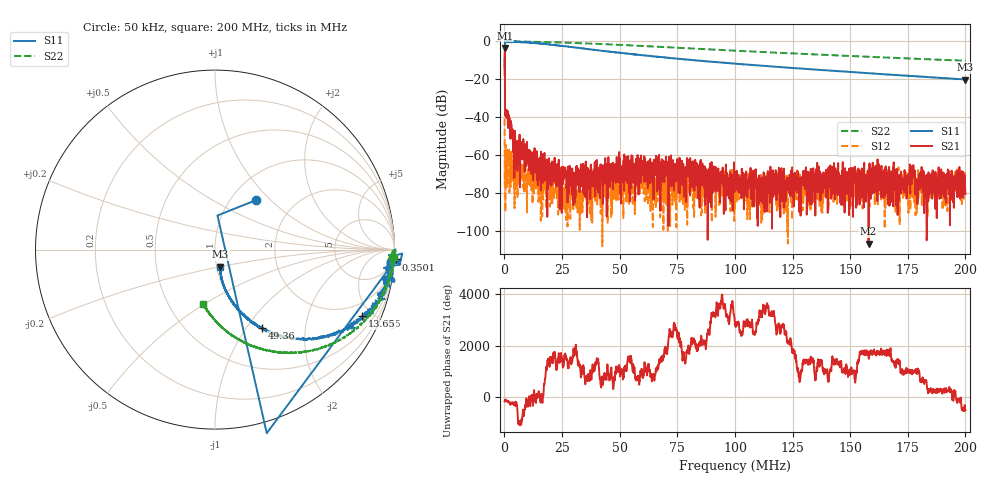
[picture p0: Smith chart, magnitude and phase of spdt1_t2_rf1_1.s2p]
! 26-Feb-26 10:48:21 AM
! E:\VNA_MEASUREMENTS\SPDT1\SPDT1_T2_RF1_1.S2P
! CHANNEL.1
! TR.MEASUREMENT
! CORRECTED.DATA
# GHZ S RI R 50.0
! FREQ.GHZ  S11RE  S11IM  S21RE  S21IM  S12RE  S12IM  S22RE  S22IM
!; PortSelection: Port_12
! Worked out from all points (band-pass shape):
!   2000 points, 50 kHz to 200 MHz, reference 50 ohm
!   highest |S21| = -3.38 dB at 150 kHz (marker M1); lowest = -106.6 dB at 158 MHz (marker M2)
!   |S21| within 3 dB of the highest: 128.8 kHz to 158.5 kHz (29.63 kHz wide, 20.6 % of centre)
!   lowest |S11| = -20.1 dB at 199.9 MHz (marker M3), VSWR 1.22, Z = 52.2 - j9.97 ohm
!   |S11| at or under -10 dB: 69.16 kHz to 179.5 kHz (110.3 kHz wide, 88.7 % of centre); 82.82912 MHz to 82.90645 MHz (77.33 kHz wide, 0.0933 % of centre); 83.14 MHz to end of sweep
!   |S22| runs from -10.2 to 0.1 dB; largest |S21 - S12| = 0.68
!   S11 on the Smith chart (normalised r, x): 50 kHz: 1.30, +0.82; 350.1 kHz: -6, -36; 13.65 MHz: 1.14, -4.35; 49.36 MHz: 1.01, -1.18; 200 MHz: 1.04, -0.20
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5e-05  0.2271 0.2748  -0.1287 -0.0322  0.00923 0.000237  0.9904 -0.0393
0.000150025  0.0137 0.1901  -0.6313 -0.2471  -3.8e-05 -0.00016  1.001 0.00248
0.000350075  1.008 -0.0547  0.000139 -0.0113  -5.3e-06 3.24e-05  0.9896 -0.0158
0.001150275  0.9996 -0.0556  -0.0075 -0.00699  -0.000968 1.6e-06  0.9867 -0.0242
0.005051251  0.9978 -0.1802  -0.000234 0.000393  0.000229 0.000358  0.982 -0.0776
0.0136534  0.8176 -0.3705  -0.000243 0.000241  0.000361 0.000173  0.9493 -0.217
0.024056  0.6062 -0.4907  0.000223 0.000199  9.83e-05 1.8e-06  0.8717 -0.3549
0.03345835  0.4393 -0.4935  0.000126 -0.0001  -3e-07 -3.97e-05  0.7792 -0.4444
0.04936233  0.2609 -0.4348  0.000415 5.15e-05  5.88e-05 -0.000222  0.6146 -0.5401
0.06676668  0.1565 -0.3631  0.000521 0.000503  0.000451 0.000134  0.4412 -0.575
0.100075  0.0702 -0.2514  0.000211 -2.33e-05  9.87e-05 6.83e-05  0.2028 -0.5352
0.1104776  0.0583 -0.2253  -4.84e-05 -7.51e-05  9.8e-05 -5.54e-05  0.153 -0.5115
0.1333833  0.0412 -0.1793  9.36e-05 -0.000185  4.13e-05 -0.000154  0.064 -0.4555
0.1579895  0.032 -0.1421  -3.9e-06 2.6e-06  -4.14e-05 -0.000288  -0.000721 -0.3952
0.1666917  0.0307 -0.1312  0.000145 -7.4e-05  0.000139 -8.63e-05  -0.0167 -0.3737
0.1771943  0.0301 -0.1187  0.000273 -0.000215  -5.26e-05 -0.000364  -0.0351 -0.3519
0.1792948  0.0299 -0.1164  0.000113 7.73e-05  0.000173 3.53e-05  -0.0381 -0.3452
0.1809952  0.0296 -0.1143  -0.000164 -0.000463  4.4e-05 -0.000372  -0.0409 -0.3425
0.188197  0.0292 -0.1065  8.42e-05 -0.000207  7.77e-05 -8.36e-05  -0.0504 -0.3269
0.1930983  0.0298 -0.1016  -5.22e-05 -9.64e-05  -4.08e-05 -0.000175  -0.0573 -0.318
0.1999  0.0303 -0.0946  -0.00013 -2.79e-05  4.24e-05 -0.000122  -0.0647 -0.3038
0.2  0.0301 -0.0948  -7.29e-05 -6.04e-05  -8.94e-05 -8.48e-05  -0.0651 -0.3029
